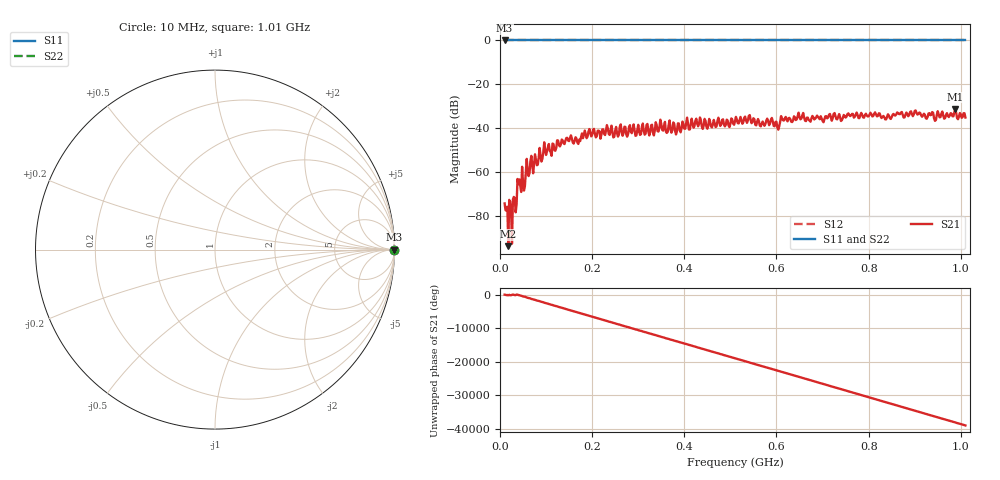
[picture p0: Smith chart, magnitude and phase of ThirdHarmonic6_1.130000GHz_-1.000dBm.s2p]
! 8/16/2025 10:59:04 AM
! C:\ANRITSUVNA\TEMP\TEMP.S2P
! CHANNEL.1
! TR.MEASUREMENT
! RAW.DATA
! RF.CORRECTION.OFF
! AVERAGING.OFF
! IF.BANDWIDTH: 5KHZ
! SWEEPTYPE:  FREQ.SWEEP(Linear)
! Reference Plane Port Info
! PORT:  PORT1  PORT2
! DISTANCE:  0  m  0  m
! TIME:  0  s  0  s
! PHASE.OFFSET:  0  deg.  0  deg.
! LOSS:  0  dB  0  dB
! REF.LOSS:  0  dB  0  dB
! REF.FREQ:  0  Hz  0  Hz
! Power Info
! POWER:  -20  dBm  -20  dBm
! EFF.POWER:  -20  dBm  -20  dBm
! SOURCE.ATTEN:  0  dB  0  dB
! TEST.ATTEN:  0  dB  0  dB
# GHZ S RI R 50.0
! FREQ.GHZ  S11RE  S11IM  S21RE  S21IM  S12RE  S12IM  S22RE  S22IM
!; PortSelection: Port_12
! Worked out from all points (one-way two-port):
!   501 points, 10 MHz to 1.01 GHz, reference 50 ohm
!   highest |S21| = -31.37 dB at 988 MHz (marker M1); lowest = -94.0 dB at 18 MHz (marker M2)
!   lowest |S11| = 0.0 dB at 10 MHz (marker M3)
!   |S11| at or under -10 dB: nowhere
!   |S22| runs from 0.0 to 0.0 dB; largest |S21 - S12| = 1
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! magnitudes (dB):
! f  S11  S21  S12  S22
! 10 MHz  0.0  -74.5  0.0  0.0
! 18 MHz  0.0  -94.0  0.0  0.0
! 30 MHz  0.0  -71.5  0.0  0.0
! 44 MHz  0.0  -66.5  0.0  0.0
! 50 MHz  0.0  -65.2  0.0  0.0
! 62 MHz  0.0  -62.0  0.0  0.0
! 100 MHz  0.0  -52.3  0.0  0.0
! 116 MHz  0.0  -47.3  0.0  0.0
! 150 MHz  0.0  -46.0  0.0  0.0
! 170 MHz  0.0  -47.3  0.0  0.0
! 178 MHz  0.0  -42.5  0.0  0.0
! 230 MHz  0.0  -41.2  0.0  0.0
! 298 MHz  0.0  -41.0  0.0  0.0
! 344 MHz  0.0  -41.6  0.0  0.0
! 510 MHz  0.0  -37.0  0.0  0.0
! 542 MHz  0.0  -34.1  0.0  0.0
! 602 MHz  0.0  -39.8  0.0  0.0
! 614 MHz  0.0  -36.4  0.0  0.0
! 678 MHz  0.0  -34.5  0.0  0.0
! 844 MHz  0.0  -34.4  0.0  0.0
! 988 MHz  0.0  -31.4  0.0  0.0
! 1.01 GHz  0.0  -35.2  0.0  0.0
